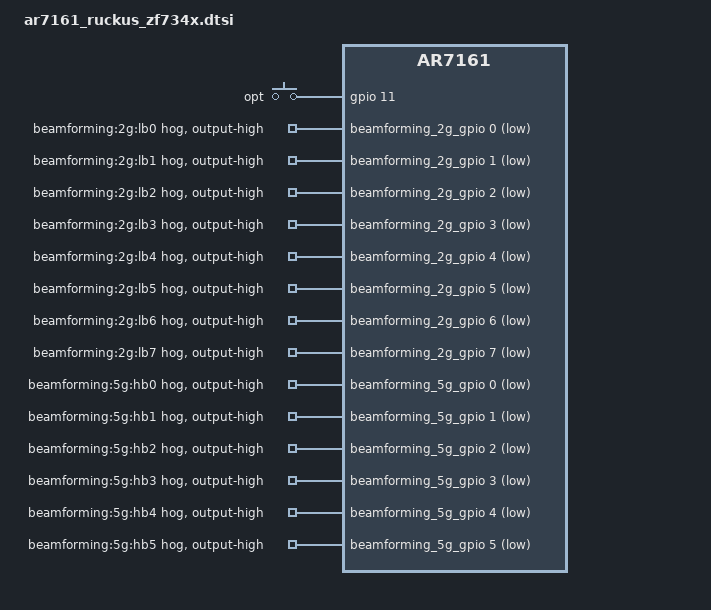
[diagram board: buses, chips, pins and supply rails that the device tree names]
// SPDX-License-Identifier: GPL-2.0-or-later OR MIT

#include "ar7161_ruckus_gd11.dtsi"

&keys {
	opt {
		/* Not used by stock firmware */
		label = "opt";
		linux,code = <KEY_WPS_BUTTON>;
		gpios = <&gpio 11 GPIO_ACTIVE_HIGH>;
		debounce-interval = <60>;
	};
};

&beamforming_2g_gpio {
	/* Default beamforming switches configuration from stock firmware,
	 * the AP is started and for broadcast frames - all outputs high */
	lb0 {
		line-name = "beamforming:2g:lb0";
		gpios = <0 GPIO_ACTIVE_LOW>;
		output-high;
		gpio-hog;
	};

	lb1 {
		line-name = "beamforming:2g:lb1";
		gpios = <1 GPIO_ACTIVE_LOW>;
		output-high;
		gpio-hog;
	};

	lb2 {
		line-name = "beamforming:2g:lb2";
		gpios = <2 GPIO_ACTIVE_LOW>;
		output-high;
		gpio-hog;
	};

	lb3 {
		line-name = "beamforming:2g:lb3";
		gpios = <3 GPIO_ACTIVE_LOW>;
		output-high;
		gpio-hog;
	};

	lb4 {
		line-name = "beamforming:2g:lb4";
		gpios = <4 GPIO_ACTIVE_LOW>;
		output-high;
		gpio-hog;
	};

	lb5 {
		line-name = "beamforming:2g:lb5";
		gpios = <5 GPIO_ACTIVE_LOW>;
		output-high;
		gpio-hog;
	};

	lb6 {
		line-name = "beamforming:2g:lb6";
		gpios = <6 GPIO_ACTIVE_LOW>;
		output-high;
		gpio-hog;
	};

	lb7 {
		line-name = "beamforming:2g:lb7";
		gpios = <7 GPIO_ACTIVE_LOW>;
		output-high;
		gpio-hog;
	};
};

&beamforming_5g_gpio {
	/* Default beamforming switches configuration from stock firmware,
	 * the AP is started and for broadcast frames - all outputs high */
	hb0 {
		line-name = "beamforming:5g:hb0";
		gpios = <0 GPIO_ACTIVE_LOW>;
		output-high;
		gpio-hog;
	};

	hb1 {
		line-name = "beamforming:5g:hb1";
		gpios = <1 GPIO_ACTIVE_LOW>;
		output-high;
		gpio-hog;
	};

	hb2 {
		line-name = "beamforming:5g:hb2";
		gpios = <2 GPIO_ACTIVE_LOW>;
		output-high;
		gpio-hog;
	};

	hb3 {
		line-name = "beamforming:5g:hb3";
		gpios = <3 GPIO_ACTIVE_LOW>;
		output-high;
		gpio-hog;
	};

	hb4 {
		line-name = "beamforming:5g:hb4";
		gpios = <4 GPIO_ACTIVE_LOW>;
		output-high;
		gpio-hog;
	};

	hb5 {
		line-name = "beamforming:5g:hb5";
		gpios = <5 GPIO_ACTIVE_LOW>;
		output-high;
		gpio-hog;
	};
};
